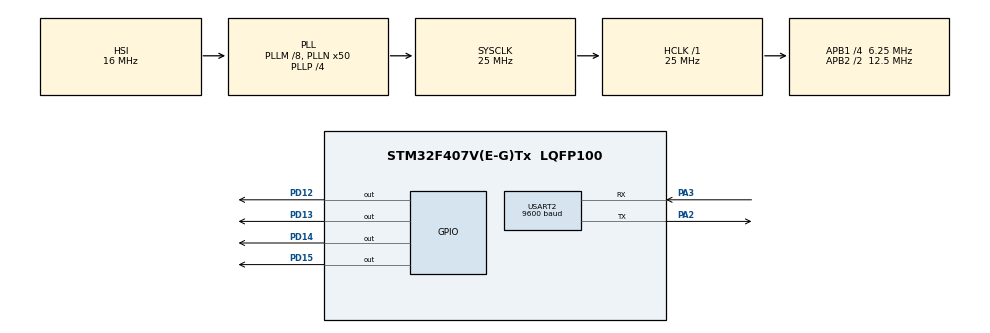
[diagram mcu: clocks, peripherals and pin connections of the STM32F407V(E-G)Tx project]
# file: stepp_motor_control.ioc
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Mcu.Family=STM32F4
Mcu.Name=STM32F407V(E-G)Tx
Mcu.Package=LQFP100
NVIC.PriorityGroup=NVIC_PRIORITYGROUP_0
NVIC.USART2_IRQn=true\:0\:0\:false\:false\:true\:true\:true\:true
PA2.Mode=Asynchronous
PA2.Signal=USART2_TX
PA3.Mode=Asynchronous
PA3.Signal=USART2_RX
PD12.Signal=GPIO_Output
PD13.Signal=GPIO_Output
PD14.Signal=GPIO_Output
PD15.Signal=GPIO_Output
ProjectManager.HeapSize=0x200
ProjectManager.StackSize=0x400
ProjectManager.TargetToolchain=STM32CubeIDE
RCC.48MHZClocksFreq_Value=14285714.285714285
RCC.AHBFreq_Value=25000000
RCC.APB1CLKDivider=RCC_HCLK_DIV4
RCC.APB1Freq_Value=6250000
RCC.APB1TimFreq_Value=12500000
RCC.APB2CLKDivider=RCC_HCLK_DIV2
RCC.APB2Freq_Value=12500000
RCC.APB2TimFreq_Value=25000000
RCC.CortexFreq_Value=25000000
RCC.HCLKFreq_Value=25000000
RCC.HSE_VALUE=8000000
RCC.HSI_VALUE=16000000
RCC.LSE_VALUE=32768
RCC.PLLM=8
RCC.PLLN=50
RCC.PLLP=RCC_PLLP_DIV4
RCC.PLLQ=7
RCC.SYSCLKFreq_VALUE=25000000
RCC.SYSCLKSource=RCC_SYSCLKSOURCE_PLLCLK
RCC.VCOOutputFreq_Value=100000000
USART2.BaudRate=9600
USART2.VirtualMode=VM_ASYNC
board=STM32F407G-DISC1

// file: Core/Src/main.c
/* USER CODE BEGIN Header */
/**
  ******************************************************************************
  * @file           : main.c
  * @brief          : Main program body
  ******************************************************************************
  * @attention
  *
  * Copyright (c) 2024 STMicroelectronics.
  * All rights reserved.
  *
  * This software is licensed under terms that can be found in the LICENSE file
  * in the root directory of this software component.
  * If no LICENSE file comes with this software, it is provided AS-IS.
  *
  ******************************************************************************
  */
/* USER CODE END Header */
#include "main.h"
#include "motor_command.h"
#include "a4988.h"

UART_HandleTypeDef huart2;

/* USER CODE BEGIN PV */

typedef uint16_t MyCRC;

// CRC hesaplama fonksiyonu
MyCRC calculateCRC(uint8_t* data, size_t length) {
	MyCRC crc = 0xFFFF;
    for (size_t i = 0; i < length; i++) {
        crc ^= data[i];
        for (uint8_t j = 0; j < 8; j++) {
            if (crc & 1) {
                crc = (crc >> 1) ^ 0xA001;
            } else {
                crc >>= 1;
            }
        }
    }
    return crc;
}

/* USER CODE END PV */

void SystemClock_Config(void);
static void MX_GPIO_Init(void);
static void MX_USART2_UART_Init(void);
/* USER CODE BEGIN PFP */

//calback fonksiyonu
void HAL_UART_RxCpltCallback(UART_HandleTypeDef *huart)
{
        if (huart->Instance == USART2) {
        CommandUnion receivedData;
        HAL_UART_Receive(&huart2, receivedData.rawData, sizeof(MotorCommand), HAL_MAX_DELAY);

        // CRC kontrolü
        if (calculateCRC(receivedData.rawData, sizeof(MotorCommand) - sizeof(MyCRC)) == receivedData.command.MyCRC) {
            processMotorCommand(&receivedData.command);
        }
    }
}

void processMotorCommand(MotorCommand *command)
{
    A4988_SetSpeed(command->speed);
    A4988_SetDirection(command->direction);
    for (uint16_t i = 0; i < command->turns * 200; i++) { // 200 steps per revolution - step motor için
        A4988_Step();
        HAL_Delay(command->duration); // hız kontrolü için gecikme
    }
}

/* USER CODE END PFP */

int main(void)
{

  /* MCU Configuration--------------------------------------------------------*/

  /* Reset of all peripherals, Initializes the Flash interface and the Systick. */
  HAL_Init();

  /* Configure the system clock */
  SystemClock_Config();

  /* Initialize all configured peripherals */
  MX_GPIO_Init();
  MX_USART2_UART_Init();
  /* USER CODE BEGIN 2 */
  A4988_Init();

  CommandUnion receivedData;
  HAL_UART_Receive_IT(&huart2, receivedData.rawData, sizeof(MotorCommand));
  /* USER CODE END 2 */

  /* Infinite loop */
  while (1)
  {

  }
}

void SystemClock_Config(void)
{
  RCC_OscInitTypeDef RCC_OscInitStruct = {0};
  RCC_ClkInitTypeDef RCC_ClkInitStruct = {0};

  /** Configure the main internal regulator output voltage
  */
  __HAL_RCC_PWR_CLK_ENABLE();
  __HAL_PWR_VOLTAGESCALING_CONFIG(PWR_REGULATOR_VOLTAGE_SCALE1);

  /** Initializes the RCC Oscillators according to the specified parameters
  * in the RCC_OscInitTypeDef structure.
  */
  RCC_OscInitStruct.OscillatorType = RCC_OSCILLATORTYPE_HSI;
  RCC_OscInitStruct.HSIState = RCC_HSI_ON;
  RCC_OscInitStruct.HSICalibrationValue = RCC_HSICALIBRATION_DEFAULT;
  RCC_OscInitStruct.PLL.PLLState = RCC_PLL_ON;
  RCC_OscInitStruct.PLL.PLLSource = RCC_PLLSOURCE_HSI;
  RCC_OscInitStruct.PLL.PLLM = 8;
  RCC_OscInitStruct.PLL.PLLN = 50;
  RCC_OscInitStruct.PLL.PLLP = RCC_PLLP_DIV4;
  RCC_OscInitStruct.PLL.PLLQ = 7;
  if (HAL_RCC_OscConfig(&RCC_OscInitStruct) != HAL_OK)
  {
    Error_Handler();
  }

  /** Initializes the CPU, AHB and APB buses clocks
  */
  RCC_ClkInitStruct.ClockType = RCC_CLOCKTYPE_HCLK|RCC_CLOCKTYPE_SYSCLK
                              |RCC_CLOCKTYPE_PCLK1|RCC_CLOCKTYPE_PCLK2;
  RCC_ClkInitStruct.SYSCLKSource = RCC_SYSCLKSOURCE_PLLCLK;
  RCC_ClkInitStruct.AHBCLKDivider = RCC_SYSCLK_DIV1;
  RCC_ClkInitStruct.APB1CLKDivider = RCC_HCLK_DIV4;
  RCC_ClkInitStruct.APB2CLKDivider = RCC_HCLK_DIV2;

  if (HAL_RCC_ClockConfig(&RCC_ClkInitStruct, FLASH_LATENCY_0) != HAL_OK)
  {
    Error_Handler();
  }
}

static void MX_USART2_UART_Init(void)
{

  huart2.Instance = USART2;
  huart2.Init.BaudRate = 9600;
  huart2.Init.WordLength = UART_WORDLENGTH_8B;
  huart2.Init.StopBits = UART_STOPBITS_1;
  huart2.Init.Parity = UART_PARITY_NONE;
  huart2.Init.Mode = UART_MODE_TX_RX;
  huart2.Init.HwFlowCtl = UART_HWCONTROL_NONE;
  huart2.Init.OverSampling = UART_OVERSAMPLING_16;
  if (HAL_UART_Init(&huart2) != HAL_OK)
  {
    Error_Handler();
  }

}

static void MX_GPIO_Init(void)
{
  GPIO_InitTypeDef GPIO_InitStruct = {0};

  /* GPIO Ports Clock Enable */
  __HAL_RCC_GPIOA_CLK_ENABLE();
  __HAL_RCC_GPIOD_CLK_ENABLE();

  /*Configure GPIO pin Output Level */
  HAL_GPIO_WritePin(GPIOD, GPIO_PIN_12|GPIO_PIN_13|GPIO_PIN_14|GPIO_PIN_15, GPIO_PIN_RESET);

  /*Configure GPIO pins : PD12 PD13 PD14 PD15 */
  GPIO_InitStruct.Pin = GPIO_PIN_12|GPIO_PIN_13|GPIO_PIN_14|GPIO_PIN_15;
  GPIO_InitStruct.Mode = GPIO_MODE_OUTPUT_PP;
  GPIO_InitStruct.Pull = GPIO_NOPULL;
  GPIO_InitStruct.Speed = GPIO_SPEED_FREQ_LOW;
  HAL_GPIO_Init(GPIOD, &GPIO_InitStruct);

}

void Error_Handler(void)
{
  __disable_irq();
  while (1)
  {
  }
}
